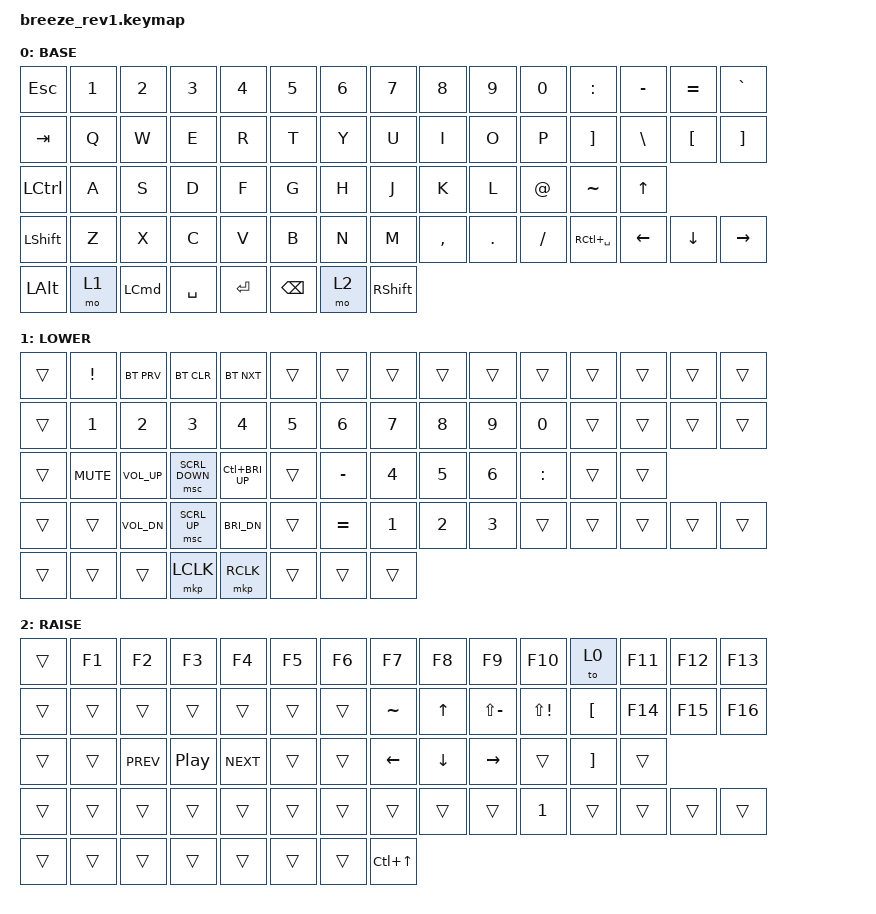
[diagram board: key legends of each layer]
/*
 * Copyright (c) 2022 The ZMK Contributors
 *
 * SPDX-License-Identifier: MIT
 */

#include <behaviors.dtsi>
#include <dt-bindings/zmk/bt.h>
#include <dt-bindings/zmk/keys.h>
#include <dt-bindings/zmk/pointing.h>

/ {
    combos {
        compatible = "zmk,combos";

        leftclick {
            bindings = <&mkp LCLK>;
            key-positions = <49 50>;
            layers = <0 1 2>;
            timeout-ms = <150>;
        };

        rightclick {
            bindings = <&mkp RCLK>;
            key-positions = <50 51>;
            layers = <0 1 2>;
            timeout-ms = <150>;
        };

        middleclick {
            bindings = <&mkp MCLK>;
            key-positions = <49 51>;
            layers = <0 1 2>;
            timeout-ms = <150>;
        };
    };

    keymap {
        compatible = "zmk,keymap";

        BASE {
            // Ref: https://zmkfirmware.dev/docs/codes/
            // ---  MAIN  -----------------------------------------------------------------------------------------------------------------------
            // |    ESC    |     1     |     2     |     3      |      4      |      5     |                           |      6      |      7     |      8      |      9     |     0    |    BSPC    | |    -/_    |     =/+     |    GRAVE    |
            // |    TAB    |     Q     |     W     |     E      |      R      |      T     |                           |      Y      |      U     |      I      |      O     |     P    |    DEL     | |     \     |      [      |      ]      |
            // |   LCTRL   |     A     |     S     |     D      |      F      |      G     |                           |      H      |      J     |      K      |      L     |     ;    |     '      | |           |      UP     |             |
            // |   SHIFT   |     Z     |     X     |     C      |      V      |      B     |                           |      N      |      M     |      ,      |      .     |     /    |   RSHIFT   | |     L     |      DN     |      R      |
            //                                     |   NUMPAD   |     LALT    |    LCMD    |   SPACE    |  |   ENTER   |   FUNCTION  |  MACOS APP |  MACOS LANG |

            bindings = <
&kp ESC       &kp N1  &kp N2    &kp N3     &kp N4     &kp N5         &kp N6  &kp N7           &kp N8     &kp N9   &kp N0       &kp COLON          &kp MINUS  &kp EQUAL  &kp GRAVE
&kp TAB       &kp Q   &kp W     &kp E      &kp R      &kp T          &kp Y   &kp U            &kp I      &kp O    &kp P        &kp RIGHT_BRACKET  &kp BSLH   &kp LBKT   &kp RBKT
&kp LCTRL     &kp A   &kp S     &kp D      &kp F      &kp G          &kp H   &kp J            &kp K      &kp L    &kp AT_SIGN  &kp TILDE          &kp UP
&kp LSHFT     &kp Z   &kp X     &kp C      &kp V      &kp B          &kp N   &kp M            &kp COMMA  &kp DOT  &kp FSLH     &kp RC(SPACE)      &kp LEFT   &kp DOWN   &kp RIGHT
&kp LEFT_ALT  &mo 1   &kp LCMD  &kp SPACE  &kp ENTER  &kp BACKSPACE  &mo 2   &kp RIGHT_SHIFT
            >;
        };

        LOWER {
            // ---  NUMPAD  -------------------------------------------------------------------------------------------------------------------
            // |           |           |           |            |             |            |                           |       =       |      /       |      *       |      -     |          |            | |           |             |             |
            // |           |           |           |            |             |            |                           |       7       |      8       |      9       |      +     |          |            | |           |             |             |
            // |           |           |           |            |             |            |                           |       4       |      5       |      6       |            |          |            | |           |             |             |
            // |           |           |           |            |             |            |                           |       1       |      2       |      3       |            |          |            | |           |             |             |
            //                                     |            |             |            |            |  |           |       0       |      .       |              |

            bindings = <
&trans  &kp EXCLAMATION  &bt BT_PRV       &bt BT_CLR      &bt BT_NXT        &trans  &trans        &trans        &trans        &trans        &trans        &trans  &trans  &trans  &trans
&trans  &kp NUMBER_1     &kp NUMBER_2     &kp NUMBER_3    &kp NUMBER_4      &kp N5  &kp NUMBER_6  &kp NUMBER_7  &kp N8        &kp N9        &kp NUMBER_0  &trans  &trans  &trans  &trans
&trans  &kp C_MUTE       &kp C_VOLUME_UP  &msc SCRL_DOWN  &kp LC(C_BRI_UP)  &trans  &kp MINUS     &kp NUMBER_4  &kp N5        &kp NUMBER_6  &kp COLON     &trans  &trans
&trans  &trans           &kp C_VOL_DN     &msc SCRL_UP    &kp C_BRI_DN      &trans  &kp EQUAL     &kp N1        &kp NUMBER_2  &kp NUMBER_3  &trans        &trans  &trans  &trans  &trans
&trans  &trans           &trans           &mkp LCLK       &mkp RCLK         &trans  &trans        &trans
            >;
        };

        RAISE {
            bindings = <
&trans  &kp F1  &kp F2      &kp F3            &kp F4      &kp F5  &kp F6  &kp F7      &kp F8          &kp F9         &kp F10              &to 0              &kp F11  &kp F12  &kp F13
&trans  &trans  &trans      &trans            &trans      &trans  &trans  &kp TILDE   &kp UP_ARROW    &kp LS(MINUS)  &kp LS(EXCLAMATION)  &kp LEFT_BRACKET   &kp F14  &kp F15  &kp F16
&trans  &trans  &kp C_PREV  &kp C_PLAY_PAUSE  &kp C_NEXT  &trans  &trans  &kp LEFT    &kp DOWN_ARROW  &kp RIGHT      &trans               &kp RIGHT_BRACKET  &trans
&trans  &trans  &trans      &trans            &trans      &trans  &trans  &trans      &trans          &trans         &kp NUMBER_1         &trans             &trans   &trans   &trans
&trans  &trans  &trans      &trans            &trans      &trans  &trans  &kp LC(UP)
            >;
        };
    };
};
